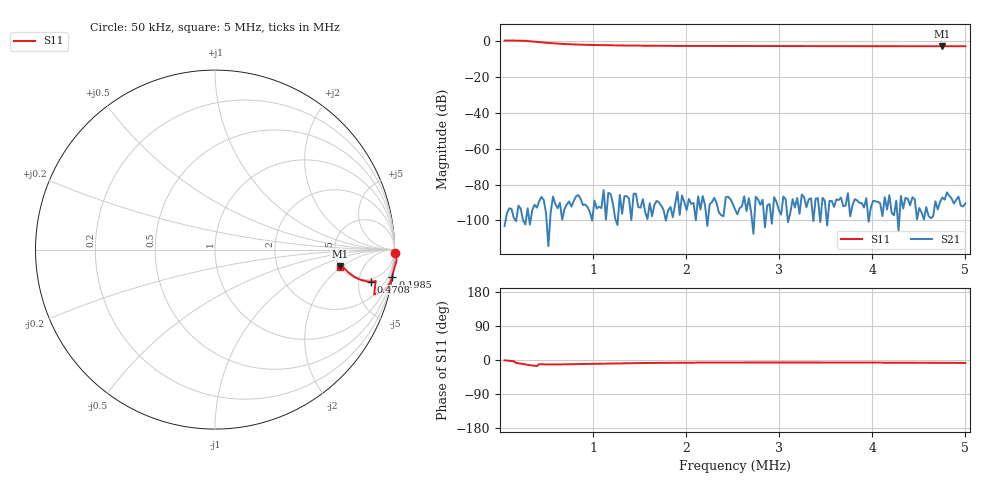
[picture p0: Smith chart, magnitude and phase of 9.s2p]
! NanoVNA-App by OneOfEleven et al v1.1.209 (+OD15)
! Date: 2024-07-30 12:37:15
! Start: 50kHz Stop: 5MHz Points: 201
! S-Parameter data: F S11 S21 S12 S22
# Hz S RI R 50
!  Frequency  S11_Real  S11_Imag  S21_Real  S21_Imag  S12_Real  S12_Imag  S22_Real  S22_Imag
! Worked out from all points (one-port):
!   201 points, 50 kHz to 5 MHz, reference 50 ohm
!   lowest |S11| = -3.1 dB at 4.753 MHz (marker M1), VSWR 5.69, Z = 251 - j89.8 ohm
!   |S11| at or under -10 dB: nowhere
!   S11 on the Smith chart (normalised r, x): 50 kHz: open; 198.5 kHz: 0, -13; 470.8 kHz: 4.37, -7.25; 5 MHz: 4.99, -1.85
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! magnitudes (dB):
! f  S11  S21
! 50 kHz  0.0  -103.1
! 74.75 kHz  0.0  -96.0
! 149 kHz  0.1  -98.6
! 173.8 kHz  0.0  -100.4
! 198.5 kHz  0.0  -91.7
! 248 kHz  -0.1  -99.8
! 297.5 kHz  -0.2  -93.2
! 470.8 kHz  -1.0  -88.7
! 569.8 kHz  -1.5  -86.7
! 668.8 kHz  -1.8  -99.6
! 767.8 kHz  -2.0  -92.3
! 891.5 kHz  -2.3  -91.4
! 990.5 kHz  -2.4  -100.1
! 1.188 MHz  -2.6  -85.2
! 1.436 MHz  -2.8  -85.1
! 1.708 MHz  -2.9  -89.9
! 1.98 MHz  -2.9  -89.8
! 2.525 MHz  -3.0  -93.8
! 3.366 MHz  -3.1  -100.3
! 4.183 MHz  -3.1  -86.0
! 4.753 MHz  -3.1  -87.2
! 5 MHz  -3.1  -90.6
